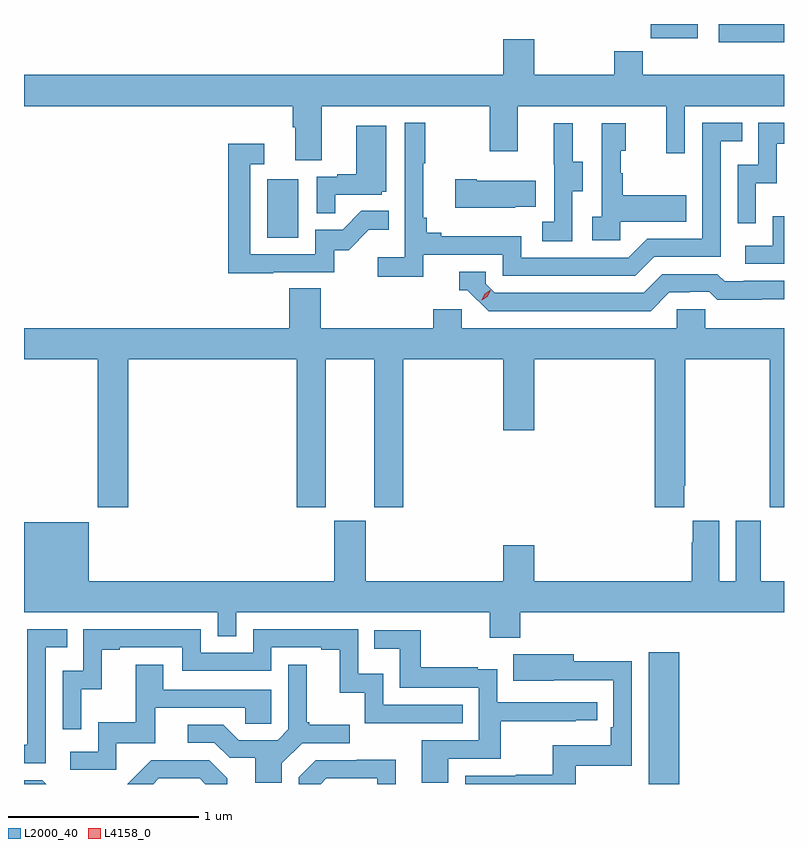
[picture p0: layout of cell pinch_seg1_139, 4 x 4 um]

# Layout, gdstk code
import gdstk
lib = gdstk.Library(unit=1e-6, precision=1e-09)
def R(c, l, rs):  # rectangles x0, y0, x1, y1
    for r in rs: c.add(gdstk.rectangle(r[:2], r[2:], *l))
def P(c, l, *ps):  # polygons
    for p in ps: c.add(gdstk.Polygon(p, *l))
L2000_40 = (2000, 40)
L4158_0 = (4158, 0)

pinch_seg1_139 = lib.new_cell('pinch_seg1_139')
R(pinch_seg1_139, L2000_40, [(1136.801,549.496,1136.962,550.189), (1134.794,552.372,1134.958,552.679), (1137.171,553.4,1137.514,553.496), (1136.812,553.422,1137.061,553.496)])
P(pinch_seg1_139, L2000_40, [(1135.081,553.064),(1135.966,553.064),(1135.966,552.825),(1136.113,552.825),(1136.113,553.064),(1136.894,553.064),(1136.894,552.816),(1136.991,552.816),(1136.991,553.064),(1137.514,553.064),(1137.514,553.228),(1136.771,553.228),(1136.771,553.352),(1136.62,553.352),(1136.62,553.228),(1136.2,553.228),(1136.2,553.417),(1136.036,553.417),(1136.036,553.228),(1133.514,553.228),(1133.514,553.064),(1134.929,553.064),(1134.929,552.952),(1134.941,552.952),(1134.941,552.778),(1135.081,552.778)],
  [(1135.616,552.282),(1136.034,552.282),(1136.034,552.171),(1136.731,552.171),(1136.83,552.27),(1137.18,552.27),(1137.18,552.879),(1137.293,552.879),(1137.293,552.975),(1137.084,552.975),(1137.084,552.366),(1136.793,552.366),(1136.694,552.267),(1136.13,552.267),(1136.13,552.379),(1135.711,552.379),(1135.711,552.398),(1135.634,552.398),(1135.634,552.475),(1135.615,552.475),(1135.615,552.763),(1135.627,552.763),(1135.627,552.976),(1135.518,552.976),(1135.518,552.268),(1135.377,552.268),(1135.377,552.166),(1135.616,552.166)],
  [(1137.366,552.659),(1137.476,552.659),(1137.476,552.867),(1137.514,552.867),(1137.514,552.975),(1137.378,552.975),(1137.378,552.756),(1137.27,552.756),(1137.27,552.447),(1137.366,552.447)],
  [(1136.4,552.616),(1136.455,552.616),(1136.455,552.771),(1136.401,552.771),(1136.401,552.973),(1136.303,552.973),(1136.303,552.759),(1136.304,552.759),(1136.304,552.455),(1136.241,552.455),(1136.241,552.352),(1136.4,552.352)],
  [(1136.652,552.455),(1136.999,552.455),(1136.999,552.595),(1136.665,552.595),(1136.665,552.71),(1136.655,552.71),(1136.655,552.828),(1136.68,552.828),(1136.68,552.973),(1136.556,552.973),(1136.556,552.482),(1136.505,552.482),(1136.505,552.357),(1136.652,552.357)],
  [(1135.151,552.597),(1135.398,552.597),(1135.398,552.612),(1135.42,552.612),(1135.42,552.961),(1135.262,552.961),(1135.262,552.706),(1135.163,552.706),(1135.163,552.693),(1135.056,552.693),(1135.056,552.499),(1135.151,552.499)],
  [(1134.827,552.189),(1135.146,552.189),(1135.146,552.306),(1135.222,552.306),(1135.329,552.413),(1135.433,552.413),(1135.433,552.512),(1135.289,552.512),(1135.191,552.414),(1135.047,552.414),(1135.047,552.285),(1134.705,552.285),(1134.705,552.759),(1134.778,552.759),(1134.778,552.865),(1134.589,552.865),(1134.589,552.184),(1134.827,552.184)],
  [(1136.099,552.533),(1136.207,552.533),(1136.207,552.67),(1135.897,552.67),(1135.897,552.678),(1135.785,552.678),(1135.785,552.53),(1136.099,552.53)],
  [(1137.514,552.484),(1137.456,552.484),(1137.456,552.33),(1137.309,552.33),(1137.309,552.234),(1137.514,552.234)],
  [(1136.911,552.084),(1137.018,552.084),(1137.018,552.087),(1137.121,552.087),(1137.163,552.045),(1137.396,552.045),(1137.396,552.047),(1137.514,552.047),(1137.514,552.144),(1137.301,552.144),(1137.301,552.141),(1137.202,552.141),(1137.163,552.18),(1136.874,552.18),(1136.775,552.081),(1135.992,552.081),(1135.944,552.129),(1135.944,552.192),(1135.805,552.192),(1135.805,552.096),(1135.848,552.096),(1135.959,551.985),(1136.812,551.985)],
  [(1134.062,551.732),(1134.95,551.732),(1134.95,550.953),(1135.102,550.953),(1135.102,551.732),(1135.358,551.732),(1135.358,550.953),(1135.511,550.953),(1135.511,551.732),(1136.036,551.732),(1136.036,551.358),(1136.2,551.358),(1136.2,551.732),(1136.834,551.732),(1136.834,550.953),(1136.989,550.953),(1136.989,551.065),(1136.994,551.065),(1136.994,551.732),(1137.439,551.732),(1137.439,550.953),(1137.514,550.953),(1137.514,551.896),(1137.099,551.896),(1137.099,551.994),(1136.949,551.994),(1136.949,551.896),(1135.818,551.896),(1135.818,551.994),(1135.667,551.994),(1135.667,551.896),(1135.076,551.896),(1135.076,552.104),(1134.911,552.104),(1134.911,551.896),(1133.514,551.896),(1133.514,551.732),(1133.902,551.732),(1133.902,550.953),(1134.062,550.953)],
  [(1136.126,550.4),(1137.514,550.4),(1137.514,550.564),(1137.391,550.564),(1137.391,550.882),(1137.26,550.882),(1137.26,550.564),(1137.172,550.564),(1137.172,550.882),(1137.035,550.882),(1137.035,550.769),(1137.029,550.769),(1137.029,550.564),(1136.2,550.564),(1136.2,550.753),(1136.036,550.753),(1136.036,550.564),(1135.312,550.564),(1135.312,550.881),(1135.148,550.881),(1135.148,550.564),(1133.854,550.564),(1133.854,550.873),(1133.514,550.873),(1133.514,550.4),(1134.534,550.4),(1134.534,550.273),(1134.63,550.273),(1134.63,550.4),(1135.966,550.4),(1135.966,550.265),(1136.126,550.265)],
  [(1133.814,549.995),(1133.924,549.995),(1133.924,550.203),(1134.019,550.203),(1134.019,550.215),(1134.348,550.215),(1134.348,550.092),(1134.816,550.092),(1134.816,550.215),(1135.079,550.215),(1135.079,550.203),(1135.175,550.203),(1135.175,549.977),(1135.308,549.977),(1135.308,549.816),(1135.823,549.816),(1135.823,549.912),(1135.404,549.912),(1135.404,550.075),(1135.272,550.075),(1135.272,550.311),(1134.72,550.311),(1134.72,550.188),(1134.444,550.188),(1134.444,550.311),(1133.826,550.311),(1133.826,550.092),(1133.718,550.092),(1133.718,549.783),(1133.814,549.783)],
  [(1133.628,550.215),(1133.741,550.215),(1133.741,550.311),(1133.532,550.311),(1133.532,549.702),(1133.514,549.702),(1133.514,549.606),(1133.628,549.606)],
  [(1135.747,549.63),(1136.024,549.63),(1136.024,549.826),(1136.417,549.826),(1136.417,549.831),(1136.53,549.831),(1136.53,549.927),(1136.004,549.927),(1136.004,550.099),(1135.901,550.099),(1135.901,550.111),(1135.603,550.111),(1135.603,550.305),(1135.357,550.305),(1135.357,550.208),(1135.492,550.208),(1135.492,550.002),(1135.908,550.002),(1135.908,549.726),(1135.607,549.726),(1135.607,549.502),(1135.747,549.502)],
  [(1136.419,549.591),(1136.712,549.591),(1136.712,550.142),(1136.407,550.142),(1136.407,550.18),(1136.089,550.18),(1136.089,550.04),(1136.303,550.04),(1136.303,550.041),(1136.616,550.041),(1136.616,549.796),(1136.603,549.796),(1136.603,549.7),(1136.298,549.7),(1136.298,549.545),(1136.101,549.545),(1136.101,549.54),(1135.836,549.54),(1135.836,549.496),(1136.419,549.496)],
  [(1134.871,549.604),(1134.978,549.711),(1135.228,549.711),(1135.228,549.808),(1135.015,549.808),(1135.015,549.82),(1135.003,549.82),(1135.003,550.123),(1134.906,550.123),(1134.906,549.783),(1134.849,549.726),(1134.643,549.726),(1134.562,549.807),(1134.375,549.807),(1134.375,549.714),(1134.516,549.714),(1134.596,549.634),(1134.731,549.634),(1134.731,549.502),(1134.871,549.502)],
  [(1134,549.711),(1134.205,549.711),(1134.205,549.897),(1134.679,549.897),(1134.679,549.813),(1134.816,549.813),(1134.816,549.993),(1134.247,549.993),(1134.247,550.123),(1134.103,550.123),(1134.103,549.82),(1133.904,549.82),(1133.904,549.666),(1133.757,549.666),(1133.757,549.57),(1134,549.57)],
  [(1135.104,549.525),(1135.374,549.525),(1135.374,549.496),(1135.471,549.496),(1135.471,549.623),(1135.266,549.623),(1135.266,549.621),(1135.05,549.621),(1134.96,549.531),(1134.96,549.496),(1135.075,549.496)],
  [(1134.222,549.525),(1134.438,549.525),(1134.467,549.496),(1134.583,549.496),(1134.583,549.527),(1134.489,549.621),(1134.183,549.621),(1134.058,549.496),(1134.193,549.496)],
  [(1133.611,549.516),(1133.514,549.516),(1133.514,549.496),(1133.631,549.496)])
P(pinch_seg1_139, L4158_0, [(1135.922,552.042),(1135.922,552.042),(1135.938,552.075),(1135.969,552.094),(1135.97,552.094),(1135.97,552.094),(1135.953,552.061),(1135.922,552.042)])

lib.write_gds('pinch_seg1_139.gds')
